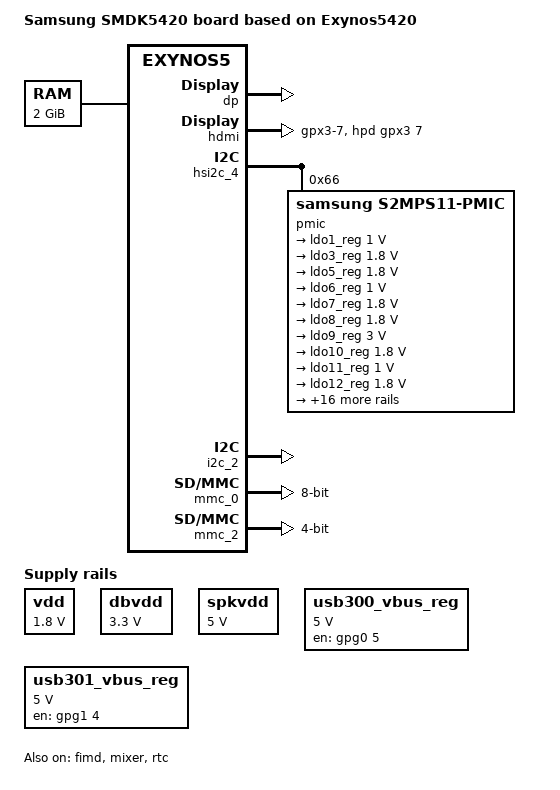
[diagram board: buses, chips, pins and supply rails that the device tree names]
// SPDX-License-Identifier: GPL-2.0
/*
 * Samsung SMDK5420 board device tree source
 *
 * Copyright (c) 2013 Samsung Electronics Co., Ltd.
 *		http://www.samsung.com
 */

/dts-v1/;
#include "exynos5420.dtsi"
#include "exynos5420-cpus.dtsi"
#include <dt-bindings/clock/samsung,s2mps11.h>
#include <dt-bindings/gpio/gpio.h>

/ {
	model = "Samsung SMDK5420 board based on Exynos5420";
	compatible = "samsung,smdk5420", "samsung,exynos5420", "samsung,exynos5";

	memory@20000000 {
		device_type = "memory";
		reg = <0x20000000 0x80000000>;
	};

	aliases {
		mmc0 = &mmc_0;
		mmc1 = &mmc_2;
	};

	chosen {
		bootargs = "init=/linuxrc";
		stdout-path = "serial2:115200n8";
	};

	fixed-rate-clocks {
		oscclk {
			compatible = "samsung,exynos5420-oscclk";
			clock-frequency = <24000000>;
		};
	};

	vdd: regulator-0 {
		compatible = "regulator-fixed";
		regulator-name = "vdd-supply";
		regulator-min-microvolt = <1800000>;
		regulator-max-microvolt = <1800000>;
		regulator-always-on;
	};

	dbvdd: regulator-1 {
		compatible = "regulator-fixed";
		regulator-name = "dbvdd-supply";
		regulator-min-microvolt = <3300000>;
		regulator-max-microvolt = <3300000>;
		regulator-always-on;
	};

	spkvdd: regulator-2 {
		compatible = "regulator-fixed";
		regulator-name = "spkvdd-supply";
		regulator-min-microvolt = <5000000>;
		regulator-max-microvolt = <5000000>;
		regulator-always-on;
	};

	usb300_vbus_reg: regulator-3 {
		compatible = "regulator-fixed";
		regulator-name = "VBUS0";
		regulator-min-microvolt = <5000000>;
		regulator-max-microvolt = <5000000>;
		gpio = <&gpg0 5 GPIO_ACTIVE_HIGH>;
		pinctrl-names = "default";
		pinctrl-0 = <&usb300_vbus_en>;
		enable-active-high;
	};

	usb301_vbus_reg: regulator-4 {
		compatible = "regulator-fixed";
		regulator-name = "VBUS1";
		regulator-min-microvolt = <5000000>;
		regulator-max-microvolt = <5000000>;
		gpio = <&gpg1 4 GPIO_ACTIVE_HIGH>;
		pinctrl-names = "default";
		pinctrl-0 = <&usb301_vbus_en>;
		enable-active-high;
	};

};

&cpu0 {
	cpu-supply = <&buck2_reg>;
};

&cpu4 {
	cpu-supply = <&buck6_reg>;
};

&dp {
	pinctrl-names = "default";
	pinctrl-0 = <&dp_hpd>;
	samsung,color-space = <0>;
	samsung,color-depth = <1>;
	samsung,link-rate = <0x0a>;
	samsung,lane-count = <4>;
	status = "okay";

	display-timings {
		native-mode = <&timing0>;
		timing0: timing {
			clock-frequency = <50000>;
			hactive = <2560>;
			vactive = <1600>;
			hfront-porch = <48>;
			hback-porch = <80>;
			hsync-len = <32>;
			vback-porch = <16>;
			vfront-porch = <8>;
			vsync-len = <6>;
		};
	};
};

&fimd {
	status = "okay";
};

&hdmi {
	status = "okay";
	ddc = <&i2c_2>;
	hpd-gpios = <&gpx3 7 GPIO_ACTIVE_HIGH>;
	pinctrl-names = "default";
	pinctrl-0 = <&hdmi_hpd_irq>;
	vdd-supply = <&ldo6_reg>;
	vdd_osc-supply = <&ldo7_reg>;
	vdd_pll-supply = <&ldo6_reg>;
};

&hsi2c_4 {
	status = "okay";

	pmic@66 {
		compatible = "samsung,s2mps11-pmic";
		reg = <0x66>;
		wakeup-source;

		s2mps11_osc: clocks {
			compatible = "samsung,s2mps11-clk";
			#clock-cells = <1>;
			clock-output-names = "s2mps11_ap",
					"s2mps11_cp", "s2mps11_bt";
		};

		regulators {
			ldo1_reg: LDO1 {
				regulator-name = "vdd_ldo1";
				regulator-min-microvolt = <1000000>;
				regulator-max-microvolt = <1000000>;
				regulator-always-on;
			};

			ldo3_reg: LDO3 {
				regulator-name = "vdd_ldo3";
				regulator-min-microvolt = <1800000>;
				regulator-max-microvolt = <1800000>;
				regulator-always-on;
			};

			ldo5_reg: LDO5 {
				regulator-name = "vdd_ldo5";
				regulator-min-microvolt = <1800000>;
				regulator-max-microvolt = <1800000>;
				regulator-always-on;
			};

			ldo6_reg: LDO6 {
				regulator-name = "vdd_ldo6";
				regulator-min-microvolt = <1000000>;
				regulator-max-microvolt = <1000000>;
				regulator-always-on;
			};

			ldo7_reg: LDO7 {
				regulator-name = "vdd_ldo7";
				regulator-min-microvolt = <1800000>;
				regulator-max-microvolt = <1800000>;
				regulator-always-on;
			};

			ldo8_reg: LDO8 {
				regulator-name = "vdd_ldo8";
				regulator-min-microvolt = <1800000>;
				regulator-max-microvolt = <1800000>;
				regulator-always-on;
			};

			ldo9_reg: LDO9 {
				regulator-name = "vdd_ldo9";
				regulator-min-microvolt = <3000000>;
				regulator-max-microvolt = <3000000>;
				regulator-always-on;
			};

			ldo10_reg: LDO10 {
				regulator-name = "vdd_ldo10";
				regulator-min-microvolt = <1800000>;
				regulator-max-microvolt = <1800000>;
				regulator-always-on;
			};

			ldo11_reg: LDO11 {
				regulator-name = "vdd_ldo11";
				regulator-min-microvolt = <1000000>;
				regulator-max-microvolt = <1000000>;
				regulator-always-on;
			};

			ldo12_reg: LDO12 {
				regulator-name = "vdd_ldo12";
				regulator-min-microvolt = <1800000>;
				regulator-max-microvolt = <1800000>;
				regulator-always-on;
			};

			ldo13_reg: LDO13 {
				regulator-name = "vdd_ldo13";
				regulator-min-microvolt = <2800000>;
				regulator-max-microvolt = <2800000>;
				regulator-always-on;
			};

			ldo15_reg: LDO15 {
				regulator-name = "vdd_ldo15";
				regulator-min-microvolt = <3100000>;
				regulator-max-microvolt = <3100000>;
				regulator-always-on;
			};

			ldo16_reg: LDO16 {
				regulator-name = "vdd_ldo16";
				regulator-min-microvolt = <2200000>;
				regulator-max-microvolt = <2200000>;
				regulator-always-on;
			};

			ldo17_reg: LDO17 {
				regulator-name = "tsp_avdd";
				regulator-min-microvolt = <3300000>;
				regulator-max-microvolt = <3300000>;
				regulator-always-on;
			};

			ldo19_reg: LDO19 {
				regulator-name = "vdd_sd";
				regulator-min-microvolt = <2800000>;
				regulator-max-microvolt = <2800000>;
				regulator-always-on;
			};

			ldo24_reg: LDO24 {
				regulator-name = "tsp_io";
				regulator-min-microvolt = <2800000>;
				regulator-max-microvolt = <2800000>;
				regulator-always-on;
			};

			buck1_reg: BUCK1 {
				regulator-name = "vdd_mif";
				regulator-min-microvolt = <800000>;
				regulator-max-microvolt = <1300000>;
				regulator-always-on;
				regulator-boot-on;
			};

			buck2_reg: BUCK2 {
				regulator-name = "vdd_arm";
				regulator-min-microvolt = <800000>;
				regulator-max-microvolt = <1500000>;
				regulator-always-on;
				regulator-boot-on;
			};

			buck3_reg: BUCK3 {
				regulator-name = "vdd_int";
				regulator-min-microvolt = <800000>;
				regulator-max-microvolt = <1400000>;
				regulator-always-on;
				regulator-boot-on;
			};

			buck4_reg: BUCK4 {
				regulator-name = "vdd_g3d";
				regulator-min-microvolt = <800000>;
				regulator-max-microvolt = <1400000>;
				regulator-always-on;
				regulator-boot-on;
			};

			buck5_reg: BUCK5 {
				regulator-name = "vdd_mem";
				regulator-min-microvolt = <800000>;
				regulator-max-microvolt = <1400000>;
				regulator-always-on;
				regulator-boot-on;
			};

			buck6_reg: BUCK6 {
				regulator-name = "vdd_kfc";
				regulator-min-microvolt = <800000>;
				regulator-max-microvolt = <1500000>;
				regulator-always-on;
				regulator-boot-on;
			};

			buck7_reg: BUCK7 {
				regulator-name = "vdd_1.0v_ldo";
				regulator-min-microvolt = <800000>;
				regulator-max-microvolt = <1500000>;
				regulator-always-on;
				regulator-boot-on;
			};

			buck8_reg: BUCK8 {
				regulator-name = "vdd_1.8v_ldo";
				regulator-min-microvolt = <800000>;
				regulator-max-microvolt = <1500000>;
				regulator-always-on;
				regulator-boot-on;
			};

			buck9_reg: BUCK9 {
				regulator-name = "vdd_2.8v_ldo";
				regulator-min-microvolt = <3000000>;
				regulator-max-microvolt = <3750000>;
				regulator-always-on;
				regulator-boot-on;
			};

			buck10_reg: BUCK10 {
				regulator-name = "vdd_vmem";
				regulator-min-microvolt = <2850000>;
				regulator-max-microvolt = <2850000>;
				regulator-always-on;
				regulator-boot-on;
			};
		};
	};
};

&i2c_2 {
	samsung,i2c-sda-delay = <100>;
	samsung,i2c-max-bus-freq = <66000>;
	/* used by HDMI DDC */
	status = "okay";
};

&mixer {
	status = "okay";
};

&mmc_0 {
	status = "okay";
	broken-cd;
	card-detect-delay = <200>;
	mmc-ddr-1_8v;
	samsung,dw-mshc-ciu-div = <3>;
	samsung,dw-mshc-sdr-timing = <0 4>;
	samsung,dw-mshc-ddr-timing = <0 2>;
	samsung,dw-mshc-hs400-timing = <0 2>;
	samsung,read-strobe-delay = <90>;
	pinctrl-names = "default";
	pinctrl-0 = <&sd0_clk &sd0_cmd &sd0_bus1 &sd0_bus4 &sd0_bus8
		     &sd0_rclk>;
	bus-width = <8>;
	cap-mmc-highspeed;
};

&mmc_2 {
	status = "okay";
	card-detect-delay = <200>;
	samsung,dw-mshc-ciu-div = <3>;
	samsung,dw-mshc-sdr-timing = <2 3>;
	samsung,dw-mshc-ddr-timing = <1 2>;
	pinctrl-names = "default";
	pinctrl-0 = <&sd2_clk &sd2_cmd &sd2_cd &sd2_bus1 &sd2_bus4>;
	bus-width = <4>;
	cap-sd-highspeed;
};

&pinctrl_0 {
	hdmi_hpd_irq: hdmi-hpd-irq-pins {
		samsung,pins = "gpx3-7";
		samsung,pin-function = <EXYNOS_PIN_FUNC_INPUT>;
		samsung,pin-pud = <EXYNOS_PIN_PULL_DOWN>;
		samsung,pin-drv = <EXYNOS5420_PIN_DRV_LV1>;
	};
};

&pinctrl_2 {
	usb300_vbus_en: usb300-vbus-en-pins {
		samsung,pins = "gpg0-5";
		samsung,pin-function = <EXYNOS_PIN_FUNC_OUTPUT>;
		samsung,pin-pud = <EXYNOS_PIN_PULL_NONE>;
		samsung,pin-drv = <EXYNOS5420_PIN_DRV_LV1>;
	};

	usb301_vbus_en: usb301-vbus-en-pins {
		samsung,pins = "gpg1-4";
		samsung,pin-function = <EXYNOS_PIN_FUNC_OUTPUT>;
		samsung,pin-pud = <EXYNOS_PIN_PULL_NONE>;
		samsung,pin-drv = <EXYNOS5420_PIN_DRV_LV1>;
	};
};

&rtc {
	status = "okay";
	clocks = <&clock CLK_RTC>, <&s2mps11_osc S2MPS11_CLK_AP>;
	clock-names = "rtc", "rtc_src";
};

&usbdrd3_0 {
	vdd10-supply = <&ldo11_reg>;
	vdd33-supply = <&ldo9_reg>;
};

&usbdrd3_1 {
	vdd10-supply = <&ldo11_reg>;
	vdd33-supply = <&ldo9_reg>;
};

&usbdrd_phy0 {
	vbus-supply = <&usb300_vbus_reg>;
};

&usbdrd_phy1 {
	vbus-supply = <&usb301_vbus_reg>;
};
